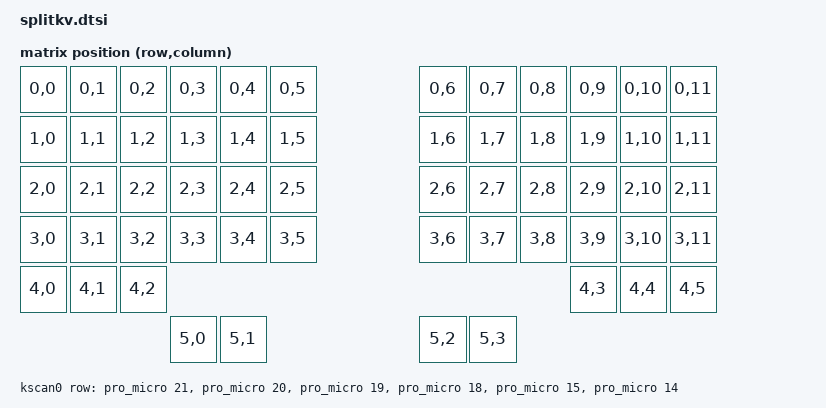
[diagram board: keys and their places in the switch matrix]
#include <dt-bindings/zmk/matrix_transform.h>

/ {
    chosen {
        zmk,kscan = &kscan0;
        zmk,matrix_transform = &default_transform;
    };

    default_transform: keymap_transform_0 {
        compatible = "zmk,matrix-transform";
        columns = <12>;
        rows = <6>;
        map = <
            RC(0,0) RC(0,1) RC(0,2) RC(0,3) RC(0,4) RC(0,5)                 RC(0,6) RC(0,7) RC(0,8) RC(0,9) RC(0,10) RC(0,11)
            RC(1,0) RC(1,1) RC(1,2) RC(1,3) RC(1,4) RC(1,5)                 RC(1,6) RC(1,7) RC(1,8) RC(1,9) RC(1,10) RC(1,11)
            RC(2,0) RC(2,1) RC(2,2) RC(2,3) RC(2,4) RC(2,5)                 RC(2,6) RC(2,7) RC(2,8) RC(2,9) RC(2,10) RC(2,11)
            RC(3,0) RC(3,1) RC(3,2) RC(3,3) RC(3,4) RC(3,5)                 RC(3,6) RC(3,7) RC(3,8) RC(3,9) RC(3,10) RC(3,11)
            RC(4,0) RC(4,1) RC(4,2)                                                                   RC(4,3) RC(4,4) RC(4,5)
                                        RC(5,0) RC(5,1)                     RC(5,2) RC(5,3)
        >;
    };

    kscan0: kscan {
        compatible = "zmk,kscan-gpio-matrix";
        wakeup-source;
        diode-direction = "col2row";
        row-gpios
             = <&pro_micro 21 (GPIO_ACTIVE_HIGH | GPIO_PULL_DOWN)>
             , <&pro_micro 20 (GPIO_ACTIVE_HIGH | GPIO_PULL_DOWN)>
             , <&pro_micro 19 (GPIO_ACTIVE_HIGH | GPIO_PULL_DOWN)>
             , <&pro_micro 18 (GPIO_ACTIVE_HIGH | GPIO_PULL_DOWN)>
             , <&pro_micro 15 (GPIO_ACTIVE_HIGH | GPIO_PULL_DOWN)>
             , <&pro_micro 14 (GPIO_ACTIVE_HIGH | GPIO_PULL_DOWN)>
             ;

    };
};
